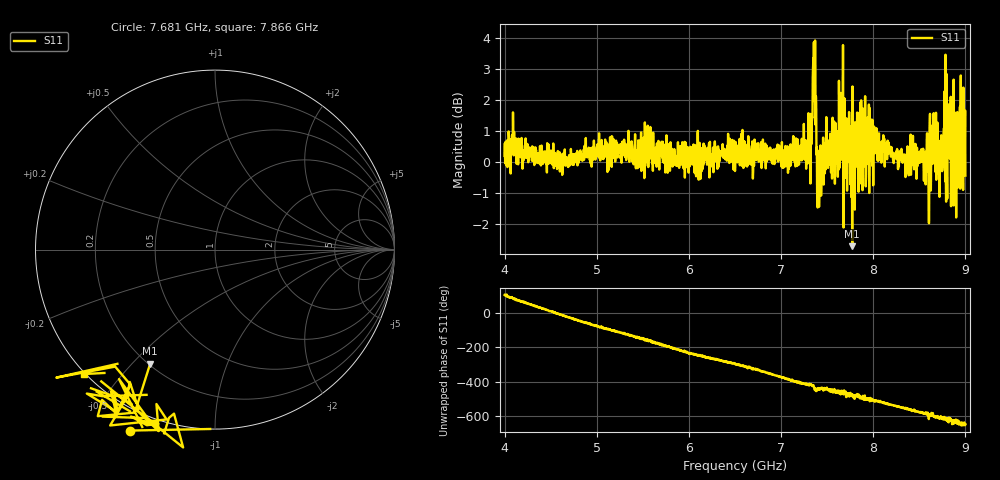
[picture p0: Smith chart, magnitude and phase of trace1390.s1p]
! Created with skrf 1.8.0 (http://scikit-rf.org).
# Hz S RI R 50.0
!freq ReS11 ImS11
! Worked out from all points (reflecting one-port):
!   1601 points, 4 GHz to 9 GHz, reference 50 ohm
!   lowest |S11| = -2.7 dB at 7.772 GHz (marker M1), VSWR 6.43, Z = 10.3 - j28.2 ohm
!   phase of S11 starts at 105 deg and turns -754 deg over the sweep
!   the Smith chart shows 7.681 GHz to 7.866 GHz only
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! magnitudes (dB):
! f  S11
! 4 GHz  0.2
! 4.069 GHz  0.7
! 4.625 GHz  -0.4
! 5.25 GHz  0.4
! 5.875 GHz  -0.1
! 6.5 GHz  -0.3
! 7.125 GHz  0.4
! 7.294 GHz  0.4
! 7.316 GHz  0.7
! 7.356 GHz  3.9
! 7.366 GHz  1.9
! 7.397 GHz  -1.5
! 7.412 GHz  -1.5
! 7.491 GHz  1.4
! 7.609 GHz  0.5
! 7.65 GHz  2.2
! 7.7 GHz  -0.5
! 7.75 GHz  -0.7
! 7.772 GHz  -2.7
! 7.891 GHz  0.4
! 8.375 GHz  0.0
! 8.584 GHz  0.9
! 8.656 GHz  1.6
! 8.731 GHz  0.4
! 8.831 GHz  0.1
! 8.906 GHz  0.9
! 8.972 GHz  1.0
! 9 GHz  -0.4
